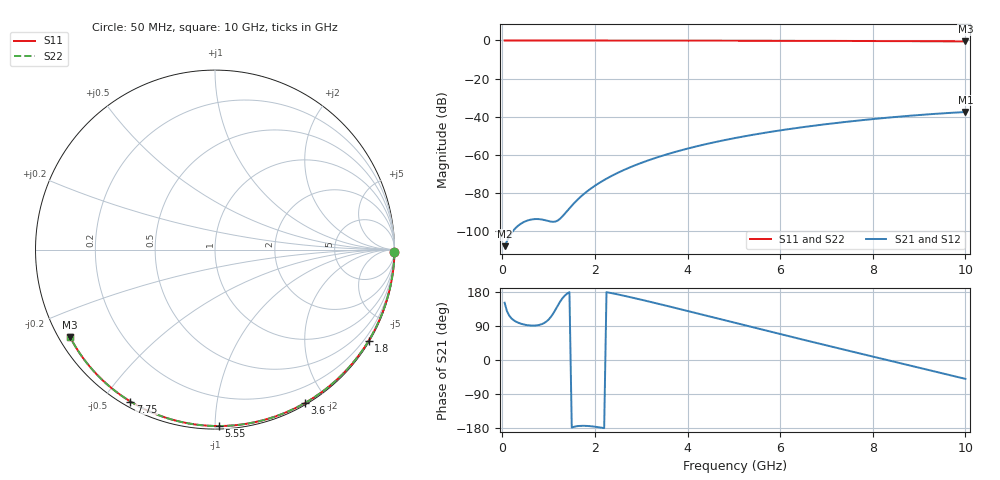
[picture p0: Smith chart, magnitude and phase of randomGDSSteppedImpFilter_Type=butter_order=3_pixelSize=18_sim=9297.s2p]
! freq	dB(S11)	phase(S11)	dB(S12)	phase(S12)
!  dB(S21)	phase(S21)	dB(S22)	phase(S22)
!S-par simulation data
#  GHz  S  DB  R 50
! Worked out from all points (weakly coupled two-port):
!   200 points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, 50 MHz to 10 GHz, reference 50 ohm
!   highest |S21| = -37.54 dB at 10 GHz (marker M1); lowest = -107.9 dB at 50 MHz (marker M2)
!   lowest |S11| = -0.5 dB at 10 GHz (marker M3), VSWR 34.27, Z = 1.57 - j14 ohm
!   |S11| at or under -10 dB: nowhere
!   |S22| runs from -0.5 to 0.0 dB; largest |S21 - S12| = 0
!   S11 on the Smith chart (normalised r, x): 50 MHz: open; 1.8 GHz: 0.03, -3.66; 3.6 GHz: 0.02, -1.74; 5.55 GHz: 0.02, -1.02; 7.75 GHz: 0.02, -0.59; 10 GHz: 0.03, -0.28
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0.05  -0.00 -0.9  -107.89 151.2  -107.89 151.2  -0.00 -0.9
0.45  -0.01 -7.8  -95.42 94.2  -95.42 94.2  -0.01 -7.8
0.9  -0.02 -15.5  -94.12 97.3  -94.12 97.3  -0.02 -15.5
1.3  -0.03 -22.2  -92.22 163.0  -92.22 163.0  -0.03 -22.2
1.75  -0.04 -29.8  -80.75 -173.6  -80.75 -173.6  -0.04 -29.8
1.8  -0.04 -30.6  -79.75 -173.8  -79.75 -173.8  -0.04 -30.6
1.95  -0.04 -33.1  -77.02 -175.3  -77.02 -175.3  -0.04 -33.1
2.1  -0.05 -35.6  -74.63 -177.8  -74.63 -177.8  -0.05 -35.6
2.3  -0.05 -38.8  -71.82 177.9  -71.82 177.9  -0.05 -38.8
2.5  -0.05 -42.1  -69.35 173.0  -69.35 173.0  -0.05 -42.1
2.9  -0.06 -48.6  -65.15 162.0  -65.15 162.0  -0.06 -48.6
3.4  -0.08 -56.5  -60.87 147.4  -60.87 147.4  -0.08 -56.5
3.6  -0.08 -59.6  -59.39 141.5  -59.39 141.5  -0.08 -59.6
4.3  -0.10 -70.4  -54.92 120.3  -54.92 120.3  -0.10 -70.4
5.05  -0.13 -81.5  -51.07 97.4  -51.07 97.4  -0.13 -81.5
5.55  -0.15 -88.8  -48.90 82.1  -48.90 82.1  -0.15 -88.8
6.1  -0.17 -96.6  -46.80 65.5  -46.80 65.5  -0.17 -96.6
6.7  -0.20 -104.9  -44.79 47.5  -44.79 47.5  -0.20 -104.9
7.75  -0.28 -119.1  -41.84 16.4  -41.84 16.4  -0.28 -119.1
8.35  -0.33 -127.0  -40.43 -1.2  -40.43 -1.2  -0.33 -127.0
9.2  -0.41 -138.2  -38.74 -26.2  -38.74 -26.2  -0.41 -138.2
10  -0.51 -148.8  -37.54 -49.8  -37.54 -49.8  -0.51 -148.8
